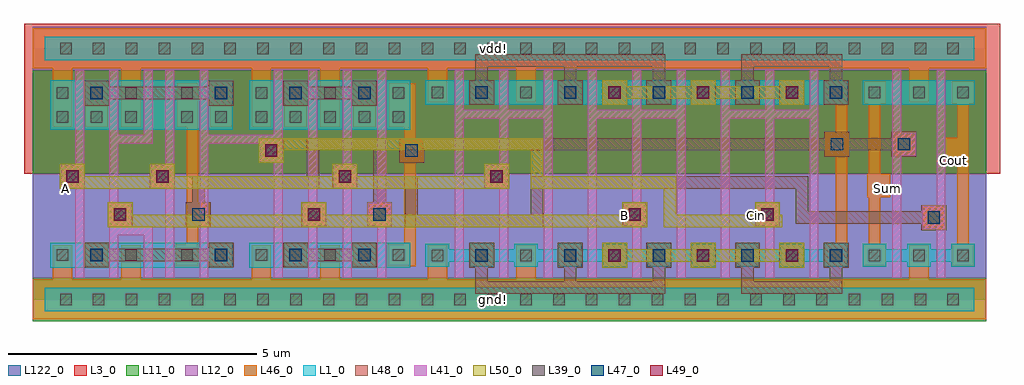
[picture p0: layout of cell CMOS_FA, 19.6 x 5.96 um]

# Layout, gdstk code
import gdstk
lib = gdstk.Library(unit=1e-6, precision=1e-09)
def R(c, l, rs):  # rectangles x0, y0, x1, y1
    for r in rs: c.add(gdstk.rectangle(r[:2], r[2:], *l))
def A(c, l, x, y, w, h, nx, ny, dx, dy):  # array of equal rectangles
    R(c, l, [(x+i*dx, y+j*dy, x+i*dx+w, y+j*dy+h) for i in range(nx) for j in range(ny)])
L1_0 = (1, 0)
L3_0 = (3, 0)
L11_0 = (11, 0)
L12_0 = (12, 0)
L39_0 = (39, 0)
L41_0 = (41, 0)
L46_0 = (46, 0)
L47_0 = (47, 0)
L48_0 = (48, 0)
L49_0 = (49, 0)
L50_0 = (50, 0)
L122_0 = (122, 0)

cmos_fa = lib.new_cell('CMOS_FA')
A(cmos_fa, L1_0, 8.775, 0.655, 0.47, 0.47, 9, 1, 0.89, 0)
A(cmos_fa, L1_0, 16.665, 0.655, 0.47, 0.47, 3, 1, 0.89, 0)
R(cmos_fa, L1_0, [(0.235,-0.23,18.905,0.24), (0.35,0.64,4.015,1.14), (4.345,0.64,7.58,1.14), (7.88,0.655,8.355,1.125), (7.88,0.765,16.365,1.015), (16.665,0.765,18.915,1.015), (0.35,3.41,4.015,4.41), (4.345,3.41,7.58,4.41), (7.88,3.91,16.365,4.41), (16.665,3.91,18.915,4.41), (0.235,4.81,18.905,5.28)])
R(cmos_fa, L3_0, [(-0.18,2.525,19.42,5.535)])
R(cmos_fa, L11_0, [(0,-0.43,19.14,0.44), (0,2.525,19.14,4.61)])
R(cmos_fa, L12_0, [(0,0.44,19.14,2.525), (0,4.61,19.14,5.48)])
A(cmos_fa, L39_0, 0.545, -0.11, 0.23, 0.23, 28, 2, 0.66, 5.04)
A(cmos_fa, L39_0, 8.005, 0.775, 0.23, 0.23, 10, 2, 0.89, 3.27)
A(cmos_fa, L39_0, 16.785, 0.775, 0.23, 0.23, 3, 2, 0.89, 3.27)
A(cmos_fa, L39_0, 0.475, 0.78, 0.23, 0.23, 3, 2, 0.69, 2.77)
A(cmos_fa, L39_0, 4.47, 0.78, 0.23, 0.23, 5, 2, 0.69, 2.77)
A(cmos_fa, L39_0, 0.475, 4.03, 0.23, 0.23, 3, 1, 0.69, 0)
A(cmos_fa, L39_0, 4.47, 4.03, 0.23, 0.23, 5, 1, 0.69, 0)
R(cmos_fa, L39_0, [(2.975,0.78,3.205,1.01), (3.665,0.78,3.895,1.01), (17.975,1.53,18.205,1.76), (1.635,1.59,1.865,1.82), (5.525,1.59,5.755,1.82), (6.845,1.59,7.075,1.82), (11.97,1.59,12.2,1.82), (14.635,1.59,14.865,1.82), (0.675,2.36,0.905,2.59), (2.485,2.36,2.715,2.59), (6.15,2.36,6.38,2.59), (9.195,2.36,9.425,2.59), (4.67,2.88,4.9,3.11), (17.375,3.005,17.605,3.235), (2.975,3.55,3.205,3.78), (3.665,3.55,3.895,3.78), (2.975,4.03,3.205,4.26), (3.665,4.03,3.895,4.26)])
A(cmos_fa, L41_0, 4.84, 0.44, 0.18, 4.17, 4, 1, 0.69, 0)
A(cmos_fa, L41_0, 8.475, 0.44, 0.18, 4.17, 9, 1, 0.89, 0)
A(cmos_fa, L41_0, 8.475, 3.63, 1.96, 0.18, 3, 1, 2.67, 0)
R(cmos_fa, L41_0, [(0.845,0.44,1.025,4.61), (1.535,0.44,1.715,4.61), (2.225,0.44,2.405,1.47), (2.655,0.44,2.835,4.61), (3.345,0.44,3.525,4.61), (17.255,0.44,17.435,4.61), (18.145,0.44,18.325,4.61), (1.535,1.29,2.405,1.47), (17.855,1.41,18.325,1.88), (1.515,1.47,1.985,1.94), (5.405,1.47,5.875,1.94), (6.725,1.47,7.195,1.94), (11.85,1.47,12.32,1.94), (14.515,1.47,14.985,1.94), (0.555,2.24,1.025,2.71), (2.365,2.24,2.835,2.71), (6.03,2.24,6.5,2.71), (9.075,2.24,9.545,2.71), (4.55,2.76,5.02,3.23), (17.255,2.885,17.725,3.355), (1.535,3.13,2.405,3.31), (2.225,3.13,2.405,4.61), (3.345,3.13,5.02,3.31)])
A(cmos_fa, L46_0, 10.565, 0.665, 0.45, 0.45, 7, 2, 0.89, 3.27)
R(cmos_fa, L46_0, [(0,-0.395,19.14,0.405), (0.395,-0.395,0.785,1.09), (1.775,-0.395,2.165,1.09), (4.39,-0.395,4.78,1.09), (5.77,-0.395,6.16,1.09), (7.925,-0.39,8.315,1.09), (9.705,-0.39,10.095,1.09), (17.595,-0.39,17.985,1.09), (8.785,0.665,9.235,1.115), (16.125,0.665,16.355,4.385), (16.675,0.665,17.125,1.115), (16.785,0.665,17.015,4.385), (18.455,0.665,18.905,1.115), (18.565,0.665,18.795,4.385), (1.055,0.67,1.505,1.12), (2.865,0.67,3.315,1.12), (3.085,0.67,3.315,4.34), (3.555,0.67,4.005,1.12), (5.05,0.67,5.5,1.12), (6.43,0.67,6.88,1.12), (7.12,0.67,7.685,1.12), (7.455,0.67,7.685,4.34), (17.855,1.41,18.325,1.88), (1.515,1.47,1.985,1.94), (3.085,1.47,3.555,1.94), (5.405,1.47,5.875,1.94), (6.725,1.47,7.195,1.94), (11.85,1.47,12.32,1.94), (14.515,1.47,14.985,1.94), (16.75,2.055,17.22,2.525), (0.555,2.24,1.025,2.71), (2.365,2.24,2.835,2.71), (6.03,2.24,6.5,2.71), (9.075,2.24,9.545,2.71), (4.55,2.76,5.02,3.23), (7.37,2.76,7.84,3.23), (18.325,2.78,18.795,3.25), (15.91,2.885,16.38,3.355), (17.255,2.885,17.725,3.355), (0.395,3.47,0.785,5.445), (1.055,3.47,1.505,4.37), (1.775,3.47,2.165,5.445), (2.895,3.47,3.315,4.34), (3.555,3.47,4.005,4.37), (4.39,3.47,4.78,5.445), (5.05,3.47,5.5,4.37), (5.77,3.47,6.16,5.445), (6.43,3.47,6.88,4.37), (7.15,3.47,7.685,4.34), (8.785,3.935,9.235,4.385), (16.675,3.935,17.125,4.385), (18.455,3.935,18.905,4.385), (7.925,3.965,8.315,5.445), (9.705,3.965,10.095,5.445), (17.595,3.965,17.985,5.445), (0,4.645,19.14,5.445)])
A(cmos_fa, L47_0, 10.665, 0.765, 0.25, 0.25, 7, 2, 0.89, 3.27)
R(cmos_fa, L47_0, [(8.885,0.765,9.135,1.015), (1.155,0.77,1.405,1.02), (3.655,0.77,3.905,1.02), (5.15,0.77,5.4,1.02), (6.53,0.77,6.78,1.02), (17.965,1.52,18.215,1.77), (1.625,1.58,1.875,1.83), (3.195,1.58,3.445,1.83), (5.515,1.58,5.765,1.83), (6.835,1.58,7.085,1.83), (11.96,1.58,12.21,1.83), (14.625,1.58,14.875,1.83), (0.665,2.35,0.915,2.6), (2.475,2.35,2.725,2.6), (6.14,2.35,6.39,2.6), (9.185,2.35,9.435,2.6), (4.66,2.87,4.91,3.12), (7.48,2.87,7.73,3.12), (16.02,2.995,16.27,3.245), (17.365,2.995,17.615,3.245), (1.155,4.02,1.405,4.27), (3.655,4.02,3.905,4.27), (5.15,4.02,5.4,4.27), (6.53,4.02,6.78,4.27), (8.885,4.035,9.135,4.285)])
A(cmos_fa, L48_0, 8.885, 0.12, 0.25, 1.02, 5, 2, 1.78, 3.79)
A(cmos_fa, L48_0, 10.54, 0.64, 0.5, 0.5, 7, 2, 0.89, 3.27)
R(cmos_fa, L48_0, [(8.885,0.12,12.695,0.37), (14.225,0.12,16.255,0.37), (8.76,0.64,9.26,1.14), (1.03,0.645,1.53,1.145), (3.53,0.645,4.03,1.145), (5.025,0.645,5.525,1.145), (6.405,0.645,6.905,1.145), (1.03,0.77,4.03,1.02), (5.025,0.77,6.905,1.02), (17.84,1.395,18.34,1.895), (1.5,1.455,2,1.955), (3.07,1.455,3.57,1.955), (3.195,1.455,3.445,2.475), (5.39,1.455,5.89,1.955), (6.71,1.455,7.21,1.955), (6.835,1.455,7.085,3.245), (7.48,1.455,7.73,2.475), (7.48,1.455,10.245,1.705), (9.995,1.455,10.245,2.475), (11.835,1.455,12.335,1.955), (14.5,1.455,15,1.955), (15.315,1.52,15.565,2.475), (15.315,1.52,18.34,1.77), (0.54,2.225,1.04,2.725), (2.35,2.225,2.85,2.725), (3.195,2.225,5.745,2.475), (5.495,2.225,5.745,3.245), (6.015,2.225,6.515,2.725), (6.835,2.225,7.73,2.475), (9.06,2.225,9.56,2.725), (9.995,2.225,15.565,2.475), (4.535,2.745,5.035,3.245), (7.355,2.745,7.855,3.245), (15.895,2.87,16.395,3.37), (17.24,2.87,17.74,3.37), (5.495,2.995,7.085,3.245), (7.355,2.995,17.74,3.245), (1.03,3.895,1.53,4.395), (3.53,3.895,4.03,4.395), (5.025,3.895,5.525,4.395), (6.405,3.895,6.905,4.395), (8.76,3.91,9.26,4.41), (1.03,4.02,4.03,4.27), (5.025,4.02,6.905,4.27), (8.885,4.68,12.695,4.93), (14.225,4.68,16.255,4.93)])
A(cmos_fa, L49_0, 11.555, 0.765, 0.25, 0.25, 3, 2, 1.78, 3.27)
R(cmos_fa, L49_0, [(1.625,1.58,1.875,1.83), (5.515,1.58,5.765,1.83), (11.96,1.58,12.21,1.83), (14.625,1.58,14.875,1.83), (0.665,2.35,0.915,2.6), (2.475,2.35,2.725,2.6), (6.14,2.35,6.39,2.6), (9.185,2.35,9.435,2.6), (4.66,2.87,4.91,3.12)])
A(cmos_fa, L50_0, 11.43, 0.64, 0.5, 0.5, 3, 2, 1.78, 3.27)
R(cmos_fa, L50_0, [(11.43,0.765,15.49,1.015), (1.5,1.455,2,1.955), (1.5,1.455,12.335,1.705), (5.39,1.455,5.89,1.955), (11.835,1.455,12.335,1.955), (12.67,1.455,15.045,1.705), (12.67,1.455,12.92,2.475), (14.5,1.455,15,1.955), (0.54,2.225,1.04,2.725), (0.54,2.225,9.56,2.475), (2.35,2.225,2.85,2.725), (6.015,2.225,6.515,2.725), (9.06,2.225,9.56,2.725), (9.995,2.225,10.245,3.245), (9.995,2.225,12.92,2.475), (4.535,2.745,5.035,3.245), (4.535,2.995,10.245,3.245), (11.43,4.035,15.49,4.285)])
R(cmos_fa, L122_0, [(0,0,19.14,5.045)])
cmos_fa.add(gdstk.Label('gnd!', (9.24,0), layer=101, texttype=0))
cmos_fa.add(gdstk.Label('vdd!', (9.24,5.04), layer=101, texttype=0))
cmos_fa.add(gdstk.Label('Cout', (18.48,2.8), layer=101, texttype=0))
cmos_fa.add(gdstk.Label('Sum', (17.16,2.24), layer=101, texttype=0))
cmos_fa.add(gdstk.Label('B', (11.88,1.68), layer=101, texttype=0))
cmos_fa.add(gdstk.Label('Cin', (14.52,1.68), layer=101, texttype=0))
cmos_fa.add(gdstk.Label('A', (0.66,2.24), layer=101, texttype=0))

lib.write_gds('CMOS_FA.gds')
